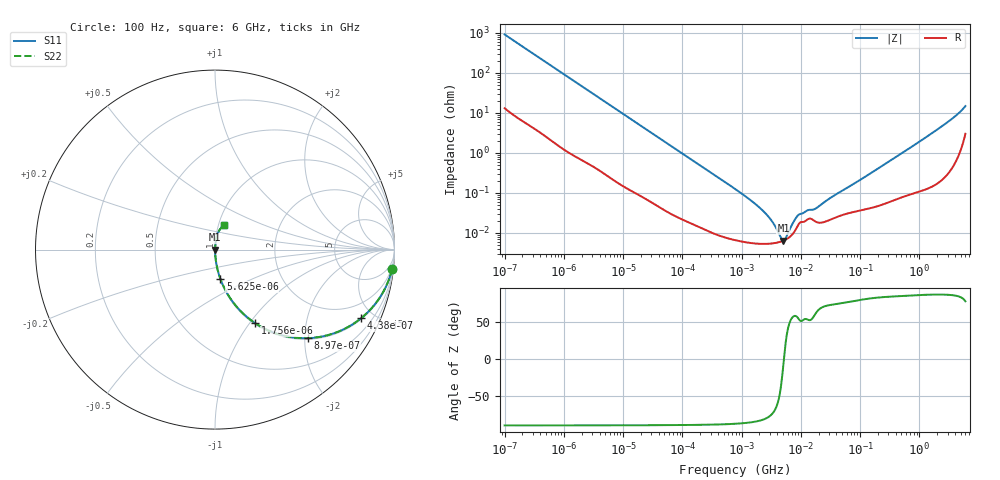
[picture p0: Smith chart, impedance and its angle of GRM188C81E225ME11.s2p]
!Murata Part Number: GRM188C81E225ME11
!These Parameters are Measured in Series Mode Connection
!Data Generated on Mar 30, 2021
!  o--ll--o
!Port1  Port2
!  o------o
!Operation Temp=25[degC], DC Bias Voltage=0[V]
!Freq. Start=100[Hz] Stop=6[GHz] 401[Steps]
# Hz S RI R 50
!Freq.(Hz) S11(Real) S11(Imag) S21(Real) S21(Imag) S12(Real) S12(Imag) S22(Real) S22(Imag)
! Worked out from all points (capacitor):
!   401 points, 100 Hz to 6 GHz, reference 50 ohm
!   read as one part in series: C = 1.74 uF near 109 Hz
!   lowest |Z| = 6.44 mohm at 5.079 MHz (marker M1)
!   series resonance near 5.176 MHz, so ESL is about 540 pH
!   S11 on the Smith chart (normalised r, x): 100 Hz: 1, -18; 438 Hz: 1.06, -4.22; 897 Hz: 1.03, -2.07; 1.756 kHz: 1.01, -1.06; 5.625 kHz: 1.01, -0.34; 6 GHz: 1.06, +0.29
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100  0.9867 -0.1078  0.0133 0.1078  0.0133 0.1078  0.9867 -0.1078
245  0.9309 -0.2469  0.0691 0.2469  0.0691 0.2469  0.9309 -0.2469
438  0.8133 -0.3828  0.1867 0.3828  0.1867 0.3828  0.8133 -0.3828
897  0.518 -0.4932  0.482 0.4932  0.482 0.4932  0.518 -0.4932
1756  0.224 -0.4101  0.776 0.4101  0.776 0.4101  0.224 -0.4101
2008  0.1819 -0.3787  0.8181 0.3787  0.8181 0.3787  0.1819 -0.3787
3143  0.0856 -0.2723  0.9144 0.2723  0.9144 0.2723  0.0856 -0.2723
5625  0.0298 -0.1627  0.9702 0.1627  0.9702 0.1627  0.0298 -0.1627
13169  0.00635 -0.0718  0.9937 0.0718  0.9937 0.0718  0.00635 -0.0718
40335  0.00102 -0.0239  0.999 0.0239  0.999 0.0239  0.00102 -0.0239
774597  6.76e-05 -0.00126  0.9999 0.00126  0.9999 0.00126  6.76e-05 -0.00126
2074311  5.35e-05 -0.000409  0.9999 0.000409  0.9999 0.000409  5.35e-05 -0.000409
2967816  5.38e-05 -0.00023  0.9999 0.00023  0.9999 0.00023  5.38e-05 -0.00023
4246196  5.86e-05 -7.92e-05  0.9999 7.92e-05  0.9999 7.92e-05  5.86e-05 -7.92e-05
5079039  6.4e-05 -7.5e-06  0.9999 7.5e-06  0.9999 7.5e-06  6.4e-05 -7.5e-06
6075234  7.37e-05 6.57e-05  0.9999 -6.57e-05  0.9999 -6.57e-05  7.37e-05 6.57e-05
7947587  0.000112 0.000184  0.9999 -0.000184  0.9999 -0.000184  0.000112 0.000184
9090158  0.000161 0.000231  0.9998 -0.000231  0.9998 -0.000231  0.000161 0.000231
1.555665e7  0.000218 0.00031  0.9998 -0.00031  0.9998 -0.00031  0.000218 0.00031
3.124326e8  0.000629 0.00617  0.9994 -0.00617  0.9994 -0.00617  0.000629 0.00617
2.34314e9  0.00403 0.0447  0.996 -0.0447  0.996 -0.0447  0.00403 0.0447
6e9  0.0482 0.1343  0.9518 -0.1343  0.9518 -0.1343  0.0482 0.1343
